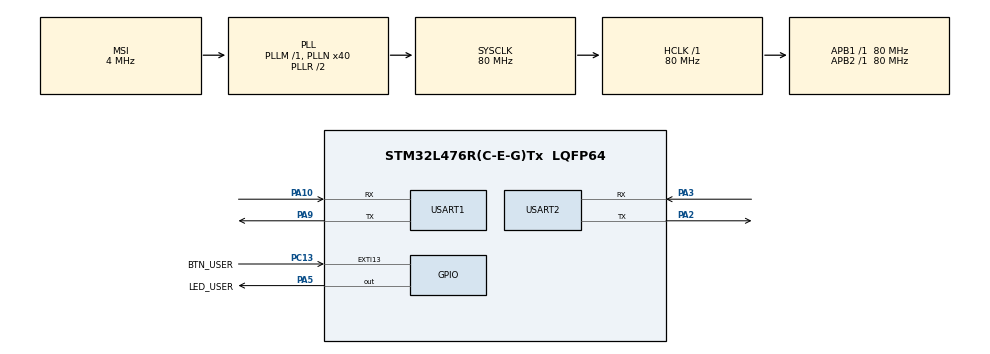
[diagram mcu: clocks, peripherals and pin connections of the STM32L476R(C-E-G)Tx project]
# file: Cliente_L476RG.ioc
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Dma.Request0=USART1_RX
Dma.Request1=USART1_TX
Dma.Request2=USART2_TX
Dma.USART1_RX.0.Direction=DMA_PERIPH_TO_MEMORY
Dma.USART1_RX.0.Instance=DMA1_Channel5
Dma.USART1_RX.0.MemDataAlignment=DMA_MDATAALIGN_BYTE
Dma.USART1_RX.0.MemInc=DMA_MINC_ENABLE
Dma.USART1_RX.0.Mode=DMA_NORMAL
Dma.USART1_RX.0.PeriphDataAlignment=DMA_PDATAALIGN_BYTE
Dma.USART1_RX.0.PeriphInc=DMA_PINC_DISABLE
Dma.USART1_RX.0.Priority=DMA_PRIORITY_MEDIUM
Dma.USART1_TX.1.Direction=DMA_MEMORY_TO_PERIPH
Dma.USART1_TX.1.Instance=DMA1_Channel4
Dma.USART1_TX.1.MemDataAlignment=DMA_MDATAALIGN_BYTE
Dma.USART1_TX.1.MemInc=DMA_MINC_ENABLE
Dma.USART1_TX.1.Mode=DMA_NORMAL
Dma.USART1_TX.1.PeriphDataAlignment=DMA_PDATAALIGN_BYTE
Dma.USART1_TX.1.PeriphInc=DMA_PINC_DISABLE
Dma.USART1_TX.1.Priority=DMA_PRIORITY_MEDIUM
Dma.USART2_TX.2.Direction=DMA_MEMORY_TO_PERIPH
Dma.USART2_TX.2.Instance=DMA1_Channel7
Dma.USART2_TX.2.MemDataAlignment=DMA_MDATAALIGN_BYTE
Dma.USART2_TX.2.MemInc=DMA_MINC_ENABLE
Dma.USART2_TX.2.Mode=DMA_NORMAL
Dma.USART2_TX.2.PeriphDataAlignment=DMA_PDATAALIGN_BYTE
Dma.USART2_TX.2.PeriphInc=DMA_PINC_DISABLE
Dma.USART2_TX.2.Priority=DMA_PRIORITY_MEDIUM
Mcu.Family=STM32L4
Mcu.Name=STM32L476R(C-E-G)Tx
Mcu.Package=LQFP64
NVIC.DMA1_Channel4_IRQn=true\:0\:0\:false\:false\:true\:false\:true\:true
NVIC.DMA1_Channel5_IRQn=true\:0\:0\:false\:false\:true\:false\:true\:true
NVIC.DMA1_Channel7_IRQn=true\:0\:0\:false\:false\:true\:false\:true\:true
NVIC.EXTI15_10_IRQn=true\:0\:0\:false\:false\:true\:true\:true\:true
NVIC.PriorityGroup=NVIC_PRIORITYGROUP_4
NVIC.USART1_IRQn=true\:0\:0\:false\:false\:true\:true\:true\:true
NVIC.USART2_IRQn=true\:0\:0\:false\:false\:true\:true\:true\:true
PA10.Mode=Asynchronous
PA10.Signal=USART1_RX
PA13\ (JTMS-SWDIO).Mode=Serial_Wire
PA13\ (JTMS-SWDIO).Signal=SYS_JTMS-SWDIO
PA14\ (JTCK-SWCLK).Mode=Serial_Wire
PA14\ (JTCK-SWCLK).Signal=SYS_JTCK-SWCLK
PA2.Mode=Asynchronous
PA2.Signal=USART2_TX
PA3.Mode=Asynchronous
PA3.Signal=USART2_RX
PA5.GPIO_Label=LED_USER
PA5.Signal=GPIO_Output
PA9.Mode=Asynchronous
PA9.Signal=USART1_TX
PC13.GPIO_Label=BTN_USER
PC13.GPIO_ModeDefaultEXTI=GPIO_MODE_IT_FALLING
PC13.GPIO_PuPd=GPIO_PULLUP
PC13.Signal=GPXTI13
PH0-OSC_IN\ (PH0).Mode=HSE-External-Clock-Source
PH0-OSC_IN\ (PH0).Signal=RCC_OSC_IN
ProjectManager.HeapSize=0x200
ProjectManager.StackSize=0x400
ProjectManager.TargetToolchain=STM32CubeIDE
RCC.AHBFreq_Value=80000000
RCC.APB1Freq_Value=80000000
RCC.APB1TimFreq_Value=80000000
RCC.APB2Freq_Value=80000000
RCC.APB2TimFreq_Value=80000000
RCC.CortexFreq_Value=80000000
RCC.HCLKFreq_Value=80000000
RCC.HSE_VALUE=8000000
RCC.HSI_VALUE=16000000
RCC.LSE_VALUE=32768
RCC.MSI_VALUE=4000000
RCC.PLLN=40
RCC.SYSCLKFreq_VALUE=80000000
RCC.SYSCLKSource=RCC_SYSCLKSOURCE_PLLCLK
RCC.VCOOutputFreq_Value=160000000
USART1.VirtualMode-Asynchronous=VM_ASYNC
USART2.VirtualMode-Asynchronous=VM_ASYNC
board=custom

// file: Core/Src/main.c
/* USER CODE BEGIN Header */
/**
  ******************************************************************************
  * @file           : main.c
  * @brief          : Main program body
  ******************************************************************************
  * @attention
  *
  * Copyright (c) 2026 STMicroelectronics.
  * All rights reserved.
  *
  * This software is licensed under terms that can be found in the LICENSE file
  * in the root directory of this software component.
  * If no LICENSE file comes with this software, it is provided AS-IS.
  *
  ******************************************************************************
  */
/* USER CODE END Header */
#include "main.h"
#include "dma.h"
#include "usart.h"
#include "gpio.h"

/* USER CODE BEGIN Includes */
#include <string.h>
#include <stdio.h>
/* USER CODE END Includes */

/* USER CODE BEGIN PV */

// Estados da maquina de estados do cliente
typedef enum {
    STATE_IDLE,           // Aguardando botao
    STATE_WAIT_COUNTER,   // Esperando contador do servidor
    STATE_WAIT_TABLE,     // Esperando tabela do servidor
    STATE_BLINKING,       // Piscando LED
    STATE_SEND_MSG_PC,    // Enviando "Numero de eventos = XXX" ao PC
    STATE_SEND_TABLE_PC   // Enviando tabela ao PC via DMA
} client_state_t;

volatile client_state_t estado = STATE_IDLE;

#define TABELA_SIZE 128         // Tamanho fixo acordado entre cliente e servidor

uint8_t cmd_tx = 0x5A;          // Comando enviado ao servidor
uint8_t contador_rx = 0;        // Contador recebido do servidor
uint8_t tabela_rx[TABELA_SIZE]; // Buffer para tabela recebida via DMA
char    msg_pc[64];             // Buffer pra mensagem ao PC

volatile uint8_t tabela_rx_done = 0;  // Flag: tabela recebida via DMA
volatile uint8_t msg_pc_done    = 0;  // Flag: msg ao PC enviada

// Controle do blink
uint32_t ultimo_toggle = 0;
uint8_t  toggles_restantes = 0;  // Cada pisca = 2 toggles (ON e OFF)

/* USER CODE END PV */

void SystemClock_Config(void);

/* USER CODE BEGIN 0 */

// Callback da interrupcao externa (botao B1 - PC13)
void HAL_GPIO_EXTI_Callback(uint16_t GPIO_Pin)
{
    if (GPIO_Pin == BTN_USER_Pin) {
        if (estado == STATE_IDLE) {
            // Envia 0x5A ao servidor via USART1
            HAL_UART_Transmit_IT(&huart1, &cmd_tx, 1);
            // Ja arma recepcao do contador (1 byte)
            HAL_UART_Receive_IT(&huart1, &contador_rx, 1);
            estado = STATE_WAIT_COUNTER;
        }
        // Se nao esta IDLE, ignora (bloqueio durante blink/processamento)
    }
}

// Callback de UART RX completa
void HAL_UART_RxCpltCallback(UART_HandleTypeDef *huart)
{
    if (huart->Instance == USART1) {
        if (estado == STATE_WAIT_COUNTER) {
            // Recebeu o contador. Arma recepcao da tabela via DMA
            HAL_UART_Receive_DMA(&huart1, tabela_rx, TABELA_SIZE);
            estado = STATE_WAIT_TABLE;
        }
        else if (estado == STATE_WAIT_TABLE) {
            // Tabela recebida via DMA
            tabela_rx_done = 1;
        }
    }
}

// Callback de UART TX completa
void HAL_UART_TxCpltCallback(UART_HandleTypeDef *huart)
{
    if (huart->Instance == USART2) {
        if (estado == STATE_SEND_MSG_PC) {
            msg_pc_done = 1;
        }
        else if (estado == STATE_SEND_TABLE_PC) {
            // Terminou de enviar tabela ao PC → volta ao idle
            estado = STATE_IDLE;
        }
    }
}

/* USER CODE END 0 */

int main(void)
{

  /* MCU Configuration--------------------------------------------------------*/

  /* Reset of all peripherals, Initializes the Flash interface and the Systick. */
  HAL_Init();

  /* Configure the system clock */
  SystemClock_Config();

  /* Initialize all configured peripherals */
  MX_GPIO_Init();
  MX_DMA_Init();
  MX_USART1_UART_Init();
  MX_USART2_UART_Init();
  /* USER CODE BEGIN 2 */
  const char *banner = "Cliente L476RG pronto. Aperte o botao azul.\r\n";
  HAL_UART_Transmit(&huart2, (uint8_t*)banner, strlen(banner), HAL_MAX_DELAY);
  /* USER CODE END 2 */

  /* Infinite loop */
  while (1)
  {

	  while (1)
	    {
	      /* USER CODE END WHILE */

	      /* USER CODE BEGIN 3 */

	      switch (estado) {

	          case STATE_WAIT_TABLE:
	              if (tabela_rx_done) {
	                  tabela_rx_done = 0;
	                  // Setup para piscar LED: contador_rx vezes, 1Hz
	                  toggles_restantes = contador_rx * 2;
	                  ultimo_toggle = HAL_GetTick();
	                  HAL_GPIO_WritePin(LED_USER_GPIO_Port, LED_USER_Pin, GPIO_PIN_SET);
	                  estado = STATE_BLINKING;
	              }
	              break;

	          case STATE_BLINKING:
	              if (toggles_restantes > 0) {
	                  if (HAL_GetTick() - ultimo_toggle >= 500) {
	                      HAL_GPIO_TogglePin(LED_USER_GPIO_Port, LED_USER_Pin);
	                      ultimo_toggle = HAL_GetTick();
	                      toggles_restantes--;
	                  }
	              } else {
	                  // Garante LED apagado
	                  HAL_GPIO_WritePin(LED_USER_GPIO_Port, LED_USER_Pin, GPIO_PIN_RESET);
	                  // Formata mensagem pro PC
	                  int n = snprintf(msg_pc, sizeof(msg_pc),
	                                   "Numero de eventos = %u\r\n", contador_rx);
	                  estado = STATE_SEND_MSG_PC;
	                  msg_pc_done = 0;
	                  HAL_UART_Transmit_IT(&huart2, (uint8_t*)msg_pc, n);
	              }
	              break;

	          case STATE_SEND_MSG_PC:
	              if (msg_pc_done) {
	                  msg_pc_done = 0;
	                  estado = STATE_SEND_TABLE_PC;
	                  // Envia tabela inteira ao PC via DMA
	                  HAL_UART_Transmit_DMA(&huart2, tabela_rx, TABELA_SIZE);
	              }
	              break;

	          default:
	              // IDLE, WAIT_COUNTER, SEND_TABLE_PC nao precisam polling aqui
	              break;
	      }
	    }
	    /* USER CODE END 3 */
  }
}

void SystemClock_Config(void)
{
  RCC_OscInitTypeDef RCC_OscInitStruct = {0};
  RCC_ClkInitTypeDef RCC_ClkInitStruct = {0};

  /** Configure the main internal regulator output voltage
  */
  if (HAL_PWREx_ControlVoltageScaling(PWR_REGULATOR_VOLTAGE_SCALE1) != HAL_OK)
  {
    Error_Handler();
  }

  /** Initializes the RCC Oscillators according to the specified parameters
  * in the RCC_OscInitTypeDef structure.
  */
  RCC_OscInitStruct.OscillatorType = RCC_OSCILLATORTYPE_MSI;
  RCC_OscInitStruct.MSIState = RCC_MSI_ON;
  RCC_OscInitStruct.MSICalibrationValue = 0;
  RCC_OscInitStruct.MSIClockRange = RCC_MSIRANGE_6;
  RCC_OscInitStruct.PLL.PLLState = RCC_PLL_ON;
  RCC_OscInitStruct.PLL.PLLSource = RCC_PLLSOURCE_MSI;
  RCC_OscInitStruct.PLL.PLLM = 1;
  RCC_OscInitStruct.PLL.PLLN = 40;
  RCC_OscInitStruct.PLL.PLLP = RCC_PLLP_DIV7;
  RCC_OscInitStruct.PLL.PLLQ = RCC_PLLQ_DIV2;
  RCC_OscInitStruct.PLL.PLLR = RCC_PLLR_DIV2;
  if (HAL_RCC_OscConfig(&RCC_OscInitStruct) != HAL_OK)
  {
    Error_Handler();
  }

  /** Initializes the CPU, AHB and APB buses clocks
  */
  RCC_ClkInitStruct.ClockType = RCC_CLOCKTYPE_HCLK|RCC_CLOCKTYPE_SYSCLK
                              |RCC_CLOCKTYPE_PCLK1|RCC_CLOCKTYPE_PCLK2;
  RCC_ClkInitStruct.SYSCLKSource = RCC_SYSCLKSOURCE_PLLCLK;
  RCC_ClkInitStruct.AHBCLKDivider = RCC_SYSCLK_DIV1;
  RCC_ClkInitStruct.APB1CLKDivider = RCC_HCLK_DIV1;
  RCC_ClkInitStruct.APB2CLKDivider = RCC_HCLK_DIV1;

  if (HAL_RCC_ClockConfig(&RCC_ClkInitStruct, FLASH_LATENCY_4) != HAL_OK)
  {
    Error_Handler();
  }
}

void Error_Handler(void)
{
  __disable_irq();
  while (1)
  {
  }
}
